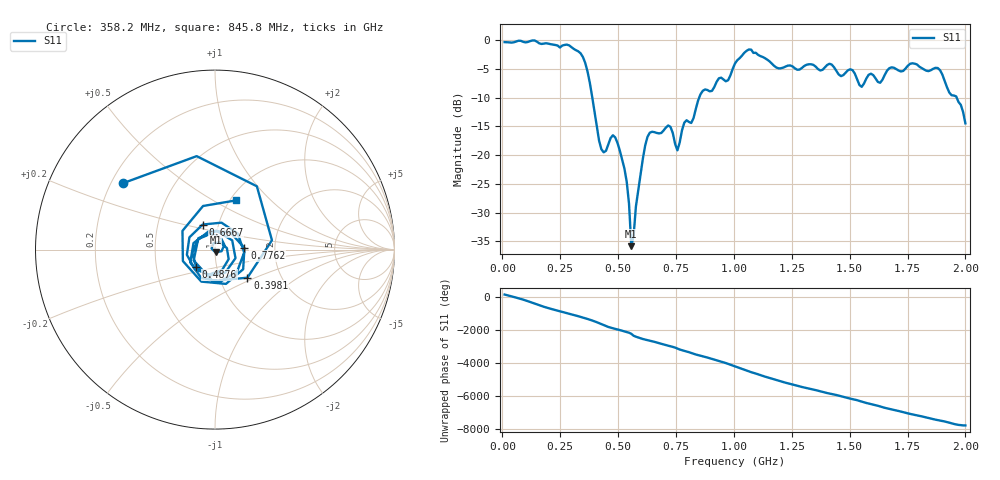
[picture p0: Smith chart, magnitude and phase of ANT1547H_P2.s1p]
!Created with skrf (http://scikit-rf.org).
# Hz S RI R 50.0
!freq ReS11 ImS11
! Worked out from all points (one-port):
!   201 points, 10 MHz to 2 GHz, reference 50 ohm
!   lowest |S11| = -35.8 dB at 557.2 MHz (marker M1), VSWR 1.03, Z = 50.3 - j1.6 ohm
!   |S11| at or under -10 dB: 388.7 MHz to 850.6 MHz (461.9 MHz wide, 74.5 % of centre); 1.962 GHz to end of sweep
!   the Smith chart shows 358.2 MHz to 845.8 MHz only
!   S11 on the Smith chart (normalised r, x): 358.2 MHz: 0.25, +0.31; 398.1 MHz: 1.35, -0.45; 487.6 MHz: 0.80, -0.16; 666.7 MHz: 0.84, +0.24; 776.1 MHz: 1.39, +0.03; 845.8 MHz: 1.07, +0.64
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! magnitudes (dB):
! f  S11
! 10 MHz  -0.4
! 258.8 MHz  -1.0
! 358.2 MHz  -4.0
! 398.1 MHz  -12.4
! 437.9 MHz  -19.5
! 487.6 MHz  -16.9
! 507.5 MHz  -19.2
! 537.4 MHz  -24.6
! 547.3 MHz  -28.4
! 557.2 MHz  -35.8
! 617 MHz  -18.4
! 666.7 MHz  -16.2
! 726.4 MHz  -15.1
! 756.2 MHz  -19.2
! 776.1 MHz  -15.7
! 816 MHz  -14.4
! 845.8 MHz  -10.5
! 975.1 MHz  -7.0
! 1.005 GHz  -4.1
! 1.075 GHz  -1.7
! 1.254 GHz  -4.6
! 1.502 GHz  -5.1
! 1.552 GHz  -8.1
! 1.592 GHz  -5.9
! 1.632 GHz  -7.4
! 1.751 GHz  -4.5
! 1.891 GHz  -5.2
! 2 GHz  -14.5
